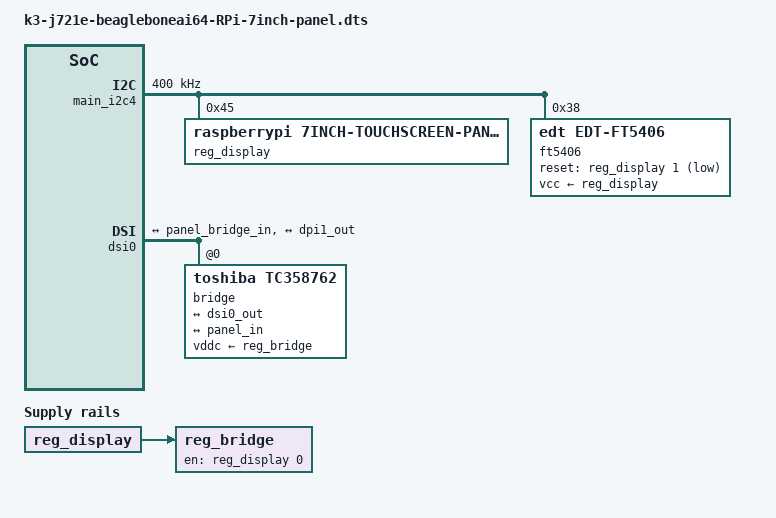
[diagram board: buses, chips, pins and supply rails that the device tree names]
// SPDX-License-Identifier: GPL-2.0
/**
 * DT Overlay for RPi 7inch touchscreen panel interfaced with DSI on
 * beagleboneai64 board.
 *
 * Copyright (C) 2021 Texas Instruments Incorporated - https://www.ti.com/
 */

/dts-v1/;
/plugin/;

#include <dt-bindings/gpio/gpio.h>
#include <dt-bindings/interrupt-controller/irq.h>
#include <dt-bindings/pinctrl/k3.h>

/*
 * Helper to show loaded overlays under: /proc/device-tree/chosen/overlays/
 */
&{/chosen} {
	overlays {
		k3-j721e-beagleboneai64-RPi-7inch-panel.kernel = __TIMESTAMP__;
	};
};

/ {
	fragment@101 {
		target-path = "/";

		__overlay__ {
			reg_bridge: reg_bridge@0 {
				reg = <0 0 0x0 0x0>;
				compatible = "regulator-fixed";
				regulator-name = "bridge_reg";
				gpio = <&reg_display 0 0>;
				vin-supply = <&reg_display>;
				enable-active-high;
			};

			panel_disp0: panel_disp1@0 {
				reg = <0 0 0x0 0x0>;
				compatible = "raspberrypi,7inch-dsi", "simple-panel";
				backlight = <&reg_display>;
				power-supply = <&reg_display>;

				port {
					panel_in: endpoint {
						remote-endpoint = <&panel_bridge_out>;
					};
				};
			};
		};
	};
};

&main_pmx0 {
	main_i2c4_pins_default: main-i2c-pins-default {
		pinctrl-single,pins = <
			J721E_IOPAD(0xa8, PIN_INPUT_PULLUP, 2) /* (AD19) PRG1_MDIO0_MDIO.I2C4_SCL */
			J721E_IOPAD(0xac, PIN_INPUT_PULLUP, 2) /* (AD18) PRG1_MDIO0_MDC.I2C4_SDA */
		>;
	};
};

&main_i2c4 {
	status = "okay";
	pinctrl-names = "default";
	pinctrl-0 = <&main_i2c4_pins_default>;
	clock-frequency = <400000>;

	reg_display: reg_display@45 {
		compatible = "raspberrypi,7inch-touchscreen-panel-regulator";
		reg = <0x45>;
		gpio-controller;
		#gpio-cells = <2>;
	};

	ft5406: ts@38 {
		compatible = "edt,edt-ft5406";
		reg = <0x38>;

		touchscreen-size-x = < 800 >;
		touchscreen-size-y = < 480 >;

		vcc-supply = <&reg_display>;
		reset-gpio = <&reg_display 1 1>;

		touchscreen-inverted-x;
		touchscreen-inverted-y;
	};
};

&dss_ports {
	#address-cells = <1>;
	#size-cells = <0>;

	port@2 {
		reg = <2>;

		dpi1_out: endpoint {
			remote-endpoint = <&dsi0_in>;
		};
	};
};

&dsi0 {
	ports {
		#address-cells = <1>;
		#size-cells = <0>;

		port@0 {
			reg = <0>;
			dsi0_out: endpoint {
				remote-endpoint = <&panel_bridge_in>;
			};
		};

		port@1 {
			reg = <1>;
			dsi0_in: endpoint {
				remote-endpoint = <&dpi1_out>;
			};
		};
	};

	bridge@0 {
		compatible = "toshiba,tc358762";
		reg = <0>;
		vddc-supply = <&reg_bridge>;
		ports {
			#address-cells = <1>;
			#size-cells = <0>;

			port@0 {
				reg = <0>;
				panel_bridge_in: endpoint {
					remote-endpoint = <&dsi0_out>;
				};
			};

			port@1 {
				reg = <1>;
				panel_bridge_out: endpoint {
					remote-endpoint = <&panel_in>;
				};
			};
		};
	};

};
